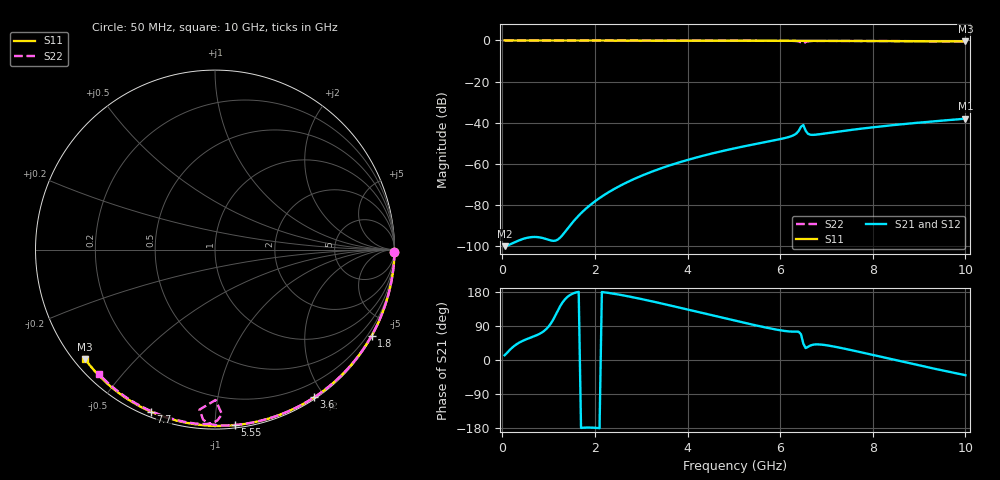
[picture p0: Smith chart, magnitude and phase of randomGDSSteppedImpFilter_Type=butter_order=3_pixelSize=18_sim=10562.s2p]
! freq	dB(S11)	phase(S11)	dB(S12)	phase(S12)
!  dB(S21)	phase(S21)	dB(S22)	phase(S22)
!S-par simulation data
#  GHz  S  DB  R 50
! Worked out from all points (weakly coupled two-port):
!   200 points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, 50 MHz to 10 GHz, reference 50 ohm
!   highest |S21| = -38.07 dB at 10 GHz (marker M1); lowest = -100.1 dB at 50 MHz (marker M2)
!   lowest |S11| = -0.5 dB at 10 GHz (marker M3), VSWR 36.67, Z = 1.55 - j18.3 ohm
!   |S11| at or under -10 dB: nowhere
!   |S22| runs from -1.5 to 0.0 dB; largest |S21 - S12| = 0
!   S11 on the Smith chart (normalised r, x): 50 MHz: open; 1.8 GHz: 0.03, -3.90; 3.6 GHz: 0.02, -1.88; 5.55 GHz: 0.02, -1.12; 7.7 GHz: 0.02, -0.68; 10 GHz: 0.03, -0.37
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0.05  -0.00 -0.8  -100.11 12.5  -100.11 12.5  -0.00 -0.8
0.9  -0.02 -14.5  -96.30 76.5  -96.30 76.5  -0.02 -13.7
1.75  -0.04 -28.0  -82.99 -178.6  -82.99 -178.6  -0.03 -26.4
1.8  -0.04 -28.7  -81.96 -178.3  -81.96 -178.3  -0.03 -27.2
1.9  -0.04 -30.3  -80.06 -178.3  -80.06 -178.3  -0.04 -28.7
2.25  -0.05 -35.7  -74.48 177.8  -74.48 177.8  -0.04 -33.8
2.65  -0.05 -41.9  -69.49 169.6  -69.49 169.6  -0.05 -39.6
3.4  -0.07 -53.1  -62.44 150.2  -62.44 150.2  -0.07 -50.4
3.6  -0.08 -56.1  -60.90 144.6  -60.90 144.6  -0.07 -53.2
4.3  -0.09 -66.2  -56.30 124.6  -56.30 124.6  -0.09 -62.9
5.05  -0.12 -76.8  -52.32 103.1  -52.32 103.1  -0.11 -73.0
5.55  -0.14 -83.6  -50.03 89.4  -50.03 89.4  -0.13 -79.7
6.25  -0.17 -93.0  -46.50 74.9  -46.50 74.9  -0.20 -89.9
6.35  -0.17 -94.3  -45.27 75.0  -45.27 75.0  -0.29 -92.3
6.45  -0.18 -95.6  -41.96 68.0  -41.96 68.0  -0.96 -95.5
6.5  -0.18 -96.2  -41.16 43.3  -41.16 43.3  -1.54 -89.8
6.55  -0.18 -96.9  -43.88 31.5  -43.88 31.5  -0.74 -87.6
6.6  -0.19 -97.5  -45.40 34.6  -45.40 34.6  -0.42 -89.3
6.7  -0.19 -98.8  -45.95 40.0  -45.95 40.0  -0.27 -91.8
7.7  -0.26 -111.6  -43.06 21.6  -43.06 21.6  -0.25 -105.6
8.35  -0.31 -119.6  -41.41 3.7  -41.41 3.7  -0.30 -113.4
10  -0.47 -139.8  -38.07 -40.0  -38.07 -40.0  -0.47 -133.0
